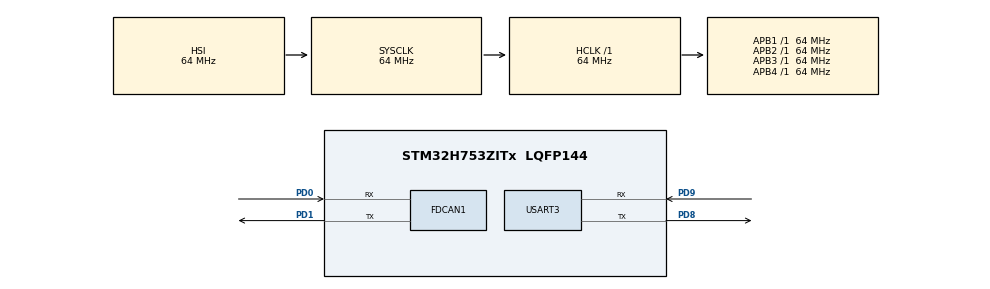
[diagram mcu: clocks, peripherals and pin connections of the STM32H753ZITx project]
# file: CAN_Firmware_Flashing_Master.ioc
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CORTEX_M7.CPU_DCache=Disabled
CORTEX_M7.CPU_ICache=Disabled
CORTEX_M7.MPU_Control=__NULL
CORTEX_M7.default_mode_Activation=1
FDCAN1.AutoRetransmission=ENABLE
FDCAN1.CalculateBaudRateNominal=500000
FDCAN1.CalculateTimeBitNominal=2000
FDCAN1.CalculateTimeQuantumNominal=20.0
FDCAN1.DataPrescaler=25
FDCAN1.DataTimeSeg1=2
FDCAN1.FrameFormat=FDCAN_FRAME_FD_NO_BRS
FDCAN1.NominalPrescaler=1
FDCAN1.NominalSyncJumpWidth=13
FDCAN1.NominalTimeSeg1=86
FDCAN1.NominalTimeSeg2=13
FDCAN1.RxFifo0ElmtSize=FDCAN_DATA_BYTES_12
FDCAN1.RxFifo0ElmtsNbr=1
FDCAN1.StdFiltersNbr=1
FDCAN1.TxElmtSize=FDCAN_DATA_BYTES_12
FDCAN1.TxFifoQueueElmtsNbr=1
FREERTOS.Tasks01=FwUpdateTask,24,2048,FwUpdateTaskFunc,Default,NULL,Dynamic,NULL,NULL
FREERTOS.configTOTAL_HEAP_SIZE=24576
FREERTOS.configUSE_NEWLIB_REENTRANT=1
Mcu.Family=STM32H7
Mcu.Name=STM32H753ZITx
Mcu.Package=LQFP144
NUCLEO-H753ZI.LD1=true
NUCLEO-H753ZI.LD2=true
NUCLEO-H753ZI.LD3=true
NVIC.FDCAN1_IT0_IRQn=true\:5\:0\:false\:false\:true\:true\:true\:true\:true
NVIC.PriorityGroup=NVIC_PRIORITYGROUP_4
NVIC.TIM6_DAC_IRQn=true\:15\:0\:false\:false\:true\:false\:false\:true\:true
NVIC.TimeBase=TIM6_DAC_IRQn
NVIC.TimeBaseIP=TIM6
NVIC.USART3_IRQn=true\:5\:0\:false\:false\:true\:true\:true\:true\:true
PC14-OSC32_IN\ (OSC32_IN).Signal=RCC_OSC32_IN
PC15-OSC32_OUT\ (OSC32_OUT).Signal=RCC_OSC32_OUT
PD0.Mode=FDCAN_Activate
PD0.Signal=FDCAN1_RX
PD1.Mode=FDCAN_Activate
PD1.Signal=FDCAN1_TX
PD8.Mode=Asynchronous
PD8.Signal=USART3_TX
PD9.Mode=Asynchronous
PD9.Signal=USART3_RX
PH0-OSC_IN\ (PH0).Signal=RCC_OSC_IN
PH1-OSC_OUT\ (PH1).Signal=RCC_OSC_OUT
ProjectManager.HeapSize=0x200
ProjectManager.StackSize=0x400
ProjectManager.TargetToolchain=STM32CubeIDE
RCC.ADCFreq_Value=129000000
RCC.APB1Freq_Value=64000000
RCC.APB2Freq_Value=64000000
RCC.APB3Freq_Value=64000000
RCC.APB4Freq_Value=64000000
RCC.CortexFreq_Value=64000000
RCC.DIVM1=4
RCC.DIVN1=9
RCC.DIVQ1=3
RCC.HCLKFreq_Value=64000000
RCC.HSE_VALUE=8000000
RCC.PLLFRACN=3072
RCC.PWR_Regulator_Voltage_Scale=PWR_REGULATOR_VOLTAGE_SCALE2
RCC.SYSCLKFreq_VALUE=64000000
RCC.USBFreq_Value=50000000
USART3.VirtualMode-Asynchronous=VM_ASYNC
VP_FREERTOS_VS_CMSIS_V2.Mode=CMSIS_V2
VP_MEMORYMAP_VS_MEMORYMAP.Mode=CurAppReg
VP_NUCLEO-H753ZI_VS_BSP_COMMON.Mode=COMMON
VP_SYS_VS_tim6.Mode=TIM6
board=NUCLEO-H753ZI

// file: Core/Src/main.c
/* USER CODE BEGIN Header */
/**
  ******************************************************************************
  * @file           : main.c
  * @brief          : Main program body
  ******************************************************************************
  * @attention
  *
  * Copyright (c) 2026 STMicroelectronics.
  * All rights reserved.
  *
  * This software is licensed under terms that can be found in the LICENSE file
  * in the root directory of this software component.
  * If no LICENSE file comes with this software, it is provided AS-IS.
  *
  ******************************************************************************
  */
/* USER CODE END Header */
#include "main.h"
#include "FreeRTOS.h"
#include "cmsis_os2.h"

/* USER CODE BEGIN Includes */
#include "ff.h"
#include "stream_buffer.h"
#include <string.h>
#include <stdio.h>
#include <microtbx.h>
#include <microblt.h>
#include "update.h"
#include "blt_port.h"
/* USER CODE END Includes */

/* USER CODE BEGIN PD */
#define UART_RX_CHUNK        (256U)         /* ISR idle-reception buffer size      */
#define SREC_STREAM_SIZE     (4096U)        /* ISR->task byte FIFO (slack for f_write) */
#define WRITE_CHUNK          (512U)         /* batch size for f_write              */
#define SREC_MAX_FILE_SIZE   (440U * 1024U) /* reject lengths the RAM disk can't hold */
/* USER CODE END PD */

FDCAN_HandleTypeDef hfdcan1;

UART_HandleTypeDef huart3;

/* Definitions for FwUpdateTask */
osThreadId_t FwUpdateTaskHandle;
const osThreadAttr_t FwUpdateTask_attributes = {
  .name = "FwUpdateTask",
  .stack_size = 2048 * 4,
  .priority = (osPriority_t) osPriorityNormal,
};
/* USER CODE BEGIN PV */
static StreamBufferHandle_t srecStream;
static uint8_t              uartRxChunk[UART_RX_CHUNK];
/* USER CODE END PV */

void SystemClock_Config(void);
static void MX_GPIO_Init(void);
static void MX_FDCAN1_Init(void);
static void MX_USART3_UART_Init(void);
void FwUpdateTaskFunc(void *argument);

/* USER CODE BEGIN 0 */
static void VcpPrint(const char *s)
{
  HAL_UART_Transmit(&huart3, (uint8_t *)s, (uint16_t)strlen(s), HAL_MAX_DELAY);
}

/* MicroTBX assertion handler: report file/line over the VCP instead of hanging silently. */
static void AppAssertHandler(const char * const file, uint32_t line)
{
  char buf[96];
  snprintf(buf, sizeof(buf), "ASSERT %s:%lu\r\n", file, (unsigned long)line);
  VcpPrint(buf);
  for (;;) { /* halt for debugger inspection */ }
}

/* Idle-line / buffer-full RX event: push received bytes to the task, then re-arm. */
void HAL_UARTEx_RxEventCallback(UART_HandleTypeDef *huart, uint16_t Size)
{
  if (huart->Instance == USART3)
  {
    BaseType_t woken = pdFALSE;
    if (Size > 0U)
    {
      (void)xStreamBufferSendFromISR(srecStream, uartRxChunk, Size, &woken);
    }
    (void)HAL_UARTEx_ReceiveToIdle_IT(huart, uartRxChunk, UART_RX_CHUNK);
    portYIELD_FROM_ISR(woken);
  }
}

/* Recover from overrun/framing errors by re-arming reception. */
void HAL_UART_ErrorCallback(UART_HandleTypeDef *huart)
{
  if (huart->Instance == USART3)
  {
    (void)HAL_UARTEx_ReceiveToIdle_IT(huart, uartRxChunk, UART_RX_CHUNK);
  }
}
/* USER CODE END 0 */

int main(void)
{

  /* MCU Configuration--------------------------------------------------------*/

  /* Reset of all peripherals, Initializes the Flash interface and the Systick. */
  HAL_Init();

  /* Configure the system clock */
  SystemClock_Config();

  /* Initialize all configured peripherals */
  MX_GPIO_Init();
  MX_FDCAN1_Init();
  MX_USART3_UART_Init();

  /* Init scheduler */
  osKernelInitialize();

  /* Create the thread(s) */
  /* creation of FwUpdateTask */
  FwUpdateTaskHandle = osThreadNew(FwUpdateTaskFunc, NULL, &FwUpdateTask_attributes);

  /* Initialize leds */
  BSP_LED_Init(LED_GREEN);
  BSP_LED_Init(LED_YELLOW);
  BSP_LED_Init(LED_RED);

  /* Start scheduler */
  osKernelStart();

  /* We should never get here as control is now taken by the scheduler */

  /* Infinite loop */
  while (1)
  {

  }
}

void SystemClock_Config(void)
{
  RCC_OscInitTypeDef RCC_OscInitStruct = {0};
  RCC_ClkInitTypeDef RCC_ClkInitStruct = {0};

  /** Supply configuration update enable
  */
  HAL_PWREx_ConfigSupply(PWR_LDO_SUPPLY);

  /** Configure the main internal regulator output voltage
  */
  __HAL_PWR_VOLTAGESCALING_CONFIG(PWR_REGULATOR_VOLTAGE_SCALE2);

  while(!__HAL_PWR_GET_FLAG(PWR_FLAG_VOSRDY)) {}

  /** Initializes the RCC Oscillators according to the specified parameters
  * in the RCC_OscInitTypeDef structure.
  */
  RCC_OscInitStruct.OscillatorType = RCC_OSCILLATORTYPE_HSI;
  RCC_OscInitStruct.HSIState = RCC_HSI_DIV1;
  RCC_OscInitStruct.HSICalibrationValue = RCC_HSICALIBRATION_DEFAULT;
  RCC_OscInitStruct.PLL.PLLState = RCC_PLL_ON;
  RCC_OscInitStruct.PLL.PLLSource = RCC_PLLSOURCE_HSI;
  RCC_OscInitStruct.PLL.PLLM = 4;
  RCC_OscInitStruct.PLL.PLLN = 9;
  RCC_OscInitStruct.PLL.PLLP = 2;
  RCC_OscInitStruct.PLL.PLLQ = 3;
  RCC_OscInitStruct.PLL.PLLR = 2;
  RCC_OscInitStruct.PLL.PLLRGE = RCC_PLL1VCIRANGE_3;
  RCC_OscInitStruct.PLL.PLLVCOSEL = RCC_PLL1VCOMEDIUM;
  RCC_OscInitStruct.PLL.PLLFRACN = 3072;
  if (HAL_RCC_OscConfig(&RCC_OscInitStruct) != HAL_OK)
  {
    Error_Handler();
  }

  /** Initializes the CPU, AHB and APB buses clocks
  */
  RCC_ClkInitStruct.ClockType = RCC_CLOCKTYPE_HCLK|RCC_CLOCKTYPE_SYSCLK
                              |RCC_CLOCKTYPE_PCLK1|RCC_CLOCKTYPE_PCLK2
                              |RCC_CLOCKTYPE_D3PCLK1|RCC_CLOCKTYPE_D1PCLK1;
  RCC_ClkInitStruct.SYSCLKSource = RCC_SYSCLKSOURCE_HSI;
  RCC_ClkInitStruct.SYSCLKDivider = RCC_SYSCLK_DIV1;
  RCC_ClkInitStruct.AHBCLKDivider = RCC_HCLK_DIV1;
  RCC_ClkInitStruct.APB3CLKDivider = RCC_APB3_DIV1;
  RCC_ClkInitStruct.APB1CLKDivider = RCC_APB1_DIV1;
  RCC_ClkInitStruct.APB2CLKDivider = RCC_APB2_DIV1;
  RCC_ClkInitStruct.APB4CLKDivider = RCC_APB4_DIV1;

  if (HAL_RCC_ClockConfig(&RCC_ClkInitStruct, FLASH_LATENCY_1) != HAL_OK)
  {
    Error_Handler();
  }
}

static void MX_FDCAN1_Init(void)
{

  hfdcan1.Instance = FDCAN1;
  hfdcan1.Init.FrameFormat = FDCAN_FRAME_FD_NO_BRS;
  hfdcan1.Init.Mode = FDCAN_MODE_NORMAL;
  hfdcan1.Init.AutoRetransmission = ENABLE;
  hfdcan1.Init.TransmitPause = DISABLE;
  hfdcan1.Init.ProtocolException = DISABLE;
  hfdcan1.Init.NominalPrescaler = 1;
  hfdcan1.Init.NominalSyncJumpWidth = 13;
  hfdcan1.Init.NominalTimeSeg1 = 86;
  hfdcan1.Init.NominalTimeSeg2 = 13;
  hfdcan1.Init.DataPrescaler = 25;
  hfdcan1.Init.DataSyncJumpWidth = 1;
  hfdcan1.Init.DataTimeSeg1 = 2;
  hfdcan1.Init.DataTimeSeg2 = 1;
  hfdcan1.Init.MessageRAMOffset = 0;
  hfdcan1.Init.StdFiltersNbr = 1;
  hfdcan1.Init.ExtFiltersNbr = 0;
  hfdcan1.Init.RxFifo0ElmtsNbr = 1;
  hfdcan1.Init.RxFifo0ElmtSize = FDCAN_DATA_BYTES_12;
  hfdcan1.Init.RxFifo1ElmtsNbr = 0;
  hfdcan1.Init.RxFifo1ElmtSize = FDCAN_DATA_BYTES_8;
  hfdcan1.Init.RxBuffersNbr = 0;
  hfdcan1.Init.RxBufferSize = FDCAN_DATA_BYTES_8;
  hfdcan1.Init.TxEventsNbr = 0;
  hfdcan1.Init.TxBuffersNbr = 0;
  hfdcan1.Init.TxFifoQueueElmtsNbr = 1;
  hfdcan1.Init.TxFifoQueueMode = FDCAN_TX_FIFO_OPERATION;
  hfdcan1.Init.TxElmtSize = FDCAN_DATA_BYTES_12;
  if (HAL_FDCAN_Init(&hfdcan1) != HAL_OK)
  {
    Error_Handler();
  }

}

static void MX_USART3_UART_Init(void)
{

  huart3.Instance = USART3;
  huart3.Init.BaudRate = 115200;
  huart3.Init.WordLength = UART_WORDLENGTH_8B;
  huart3.Init.StopBits = UART_STOPBITS_1;
  huart3.Init.Parity = UART_PARITY_NONE;
  huart3.Init.Mode = UART_MODE_TX_RX;
  huart3.Init.HwFlowCtl = UART_HWCONTROL_NONE;
  huart3.Init.OverSampling = UART_OVERSAMPLING_16;
  huart3.Init.OneBitSampling = UART_ONE_BIT_SAMPLE_DISABLE;
  huart3.Init.ClockPrescaler = UART_PRESCALER_DIV1;
  huart3.AdvancedInit.AdvFeatureInit = UART_ADVFEATURE_NO_INIT;
  if (HAL_UART_Init(&huart3) != HAL_OK)
  {
    Error_Handler();
  }
  if (HAL_UARTEx_SetTxFifoThreshold(&huart3, UART_TXFIFO_THRESHOLD_1_8) != HAL_OK)
  {
    Error_Handler();
  }
  if (HAL_UARTEx_SetRxFifoThreshold(&huart3, UART_RXFIFO_THRESHOLD_1_8) != HAL_OK)
  {
    Error_Handler();
  }
  if (HAL_UARTEx_DisableFifoMode(&huart3) != HAL_OK)
  {
    Error_Handler();
  }

}

static void MX_GPIO_Init(void)
{

  /* GPIO Ports Clock Enable */
  __HAL_RCC_GPIOC_CLK_ENABLE();
  __HAL_RCC_GPIOH_CLK_ENABLE();
  __HAL_RCC_GPIOD_CLK_ENABLE();

}

void FwUpdateTaskFunc(void *argument)
{
  /* USER CODE BEGIN 5 */
  FATFS    fs;
  FIL      fil;
  BYTE     work[_MAX_SS];
  FRESULT  fr;
  uint8_t  hdr[4];
  uint8_t  writeBuf[WRITE_CHUNK];
  uint32_t fileLen, remaining, totalWritten, hdrGot;
  size_t   got;
  UINT     bw;
  char     line[72];

  TbxAssertSetHandler(AppAssertHandler);

  /* ---- One-time init: stream buffer, format + mount, arm reception ---- */
  srecStream = xStreamBufferCreate(SREC_STREAM_SIZE, 1);

  fr = f_mkfs("", FM_FAT, 0, work, sizeof(work));
  if (fr == FR_OK) { fr = f_mount(&fs, "", 1); }
  if ((srecStream == NULL) || (fr != FR_OK))
  {
	VcpPrint("INIT FAIL\r\n");
	for (;;) { osDelay(1000); }
  }

  (void)HAL_UARTEx_ReceiveToIdle_IT(&huart3, uartRxChunk, UART_RX_CHUNK);

  /* Configure FDCAN, register the LibMicroBLT port. */
  BltPortFdcanInit();

  /* ---- Per-transfer loop: accept a new app.srec on each iteration ---- */
  for (;;)
  {
	/* Discard any stray bytes so a fresh upload starts clean. */
	(void)xStreamBufferReset(srecStream);
	totalWritten = 0U;
	hdrGot       = 0U;

	VcpPrint("READY: send 4-byte LE length, then app.srec\r\n");

	/* 1) 4-byte little-endian length header (wait indefinitely for upload). */
	while (hdrGot < sizeof(hdr))
	{
	  got = xStreamBufferReceive(srecStream, &hdr[hdrGot], sizeof(hdr) - hdrGot, portMAX_DELAY);
	  hdrGot += (uint32_t)got;
	}
	fileLen = (uint32_t)hdr[0]         | ((uint32_t)hdr[1] << 8) |
			  ((uint32_t)hdr[2] << 16) | ((uint32_t)hdr[3] << 24);

	if ((fileLen == 0U) || (fileLen > SREC_MAX_FILE_SIZE))
	{
	  snprintf(line, sizeof(line), "BAD LENGTH: %lu\r\n", (unsigned long)fileLen);
	  VcpPrint(line);
	  continue;                       /* back to READY for the next attempt */
	}

	/* 2) Stream the body into app.srec (CREATE_ALWAYS truncates any prior file). */
	fr = f_open(&fil, "app.srec", FA_CREATE_ALWAYS | FA_WRITE);
	if (fr != FR_OK)
	{
	  VcpPrint("OPEN FAIL\r\n");
	  continue;
	}

	remaining = fileLen;
	while (remaining > 0U)
	{
	  uint32_t want = (remaining < WRITE_CHUNK) ? remaining : WRITE_CHUNK;
	  got = xStreamBufferReceive(srecStream, writeBuf, want, pdMS_TO_TICKS(5000));
	  if (got == 0U)
	  {
		VcpPrint("RX TIMEOUT (incomplete)\r\n");
		break;
	  }
	  fr = f_write(&fil, writeBuf, (UINT)got, &bw);
	  if ((fr != FR_OK) || (bw < (UINT)got))
	  {
		VcpPrint("WRITE FAIL (disk full?)\r\n");
		break;
	  }
	  totalWritten += (uint32_t)got;
	  remaining    -= (uint32_t)got;
	}
	f_close(&fil);

	/* 3) Report + verify. */
	snprintf(line, sizeof(line), "RECEIVED %lu / %lu bytes\r\n",
			 (unsigned long)totalWritten, (unsigned long)fileLen);
	VcpPrint(line);

	if (f_open(&fil, "app.srec", FA_READ) == FR_OK)
	{
	  snprintf(line, sizeof(line), "VERIFY app.srec = %lu bytes %s\r\n",
			   (unsigned long)f_size(&fil),
			   (f_size(&fil) == fileLen) ? "OK" : "MISMATCH");
	  VcpPrint(line);
	  f_close(&fil);
	}

	/* If the file arrived intact, attempt to flash the target. */
  if (totalWritten == fileLen)
  {
    uint8_t updRes = UpdateFirmware("app.srec", 0U);
    snprintf(line, sizeof(line), "UPDATE %s\r\n",
              (updRes == TBX_OK) ? "OK" : "FAILED (connect timeout?)");
    VcpPrint(line);
  }

  }
  /* USER CODE END 5 */
}

void HAL_TIM_PeriodElapsedCallback(TIM_HandleTypeDef *htim)
{
  if (htim->Instance == TIM6)
  {
    HAL_IncTick();
  }
}

void Error_Handler(void)
{
  __disable_irq();
  while (1)
  {
  }
}
